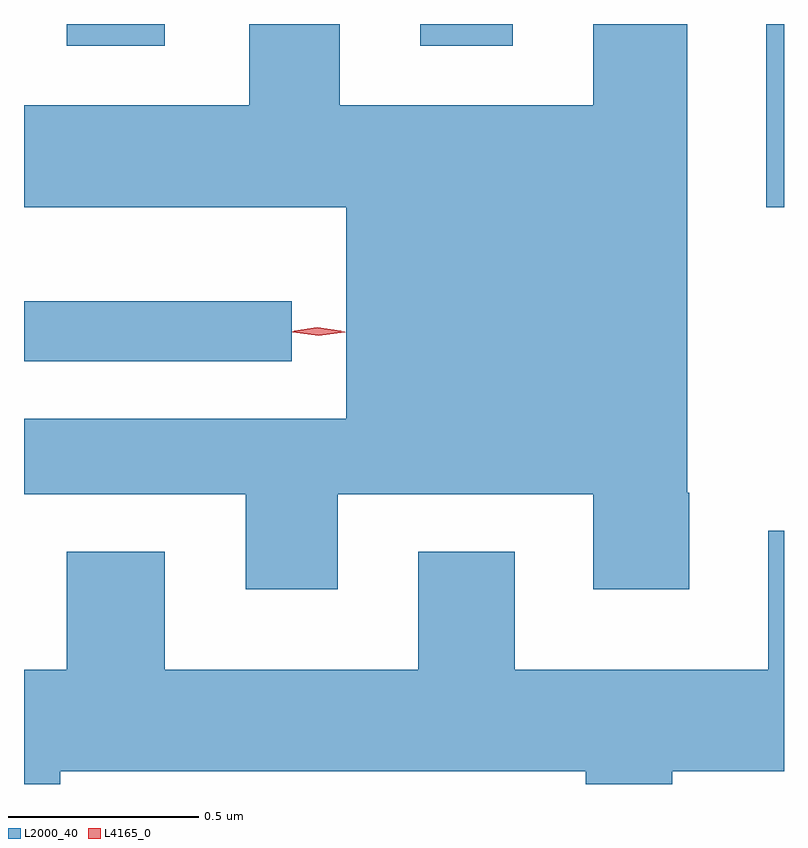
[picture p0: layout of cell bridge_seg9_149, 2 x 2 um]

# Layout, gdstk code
import gdstk
lib = gdstk.Library(unit=1e-6, precision=1e-09)
def R(c, l, rs):  # rectangles x0, y0, x1, y1
    for r in rs: c.add(gdstk.rectangle(r[:2], r[2:], *l))
def P(c, l, *ps):  # polygons
    for p in ps: c.add(gdstk.Polygon(p, *l))
L2000_40 = (2000, 40)
L4165_0 = (4165, 0)

bridge_seg9_149 = lib.new_cell('bridge_seg9_149')
R(bridge_seg9_149, L2000_40, [(1341.443,2046.176,1342.148,2046.334), (1343.396,2046.581,1343.443,2047.063), (1341.556,2047.006,1341.814,2047.063), (1342.486,2047.006,1342.729,2047.063)])
P(bridge_seg9_149, L2000_40, [(1342.269,2045.826),(1342.941,2045.826),(1342.941,2045.576),(1343.194,2045.576),(1343.194,2045.83),(1343.189,2045.83),(1343.189,2047.063),(1342.941,2047.063),(1342.941,2046.849),(1342.274,2046.849),(1342.274,2047.063),(1342.036,2047.063),(1342.036,2046.849),(1341.443,2046.849),(1341.443,2046.581),(1342.291,2046.581),(1342.291,2046.024),(1341.443,2046.024),(1341.443,2045.826),(1342.026,2045.826),(1342.026,2045.576),(1342.269,2045.576)],
  [(1342.921,2045.063),(1343.149,2045.063),(1343.149,2045.096),(1343.443,2045.096),(1343.443,2045.729),(1343.401,2045.729),(1343.401,2045.364),(1342.734,2045.364),(1342.734,2045.674),(1342.481,2045.674),(1342.481,2045.364),(1341.814,2045.364),(1341.814,2045.674),(1341.556,2045.674),(1341.556,2045.364),(1341.443,2045.364),(1341.443,2045.063),(1341.539,2045.063),(1341.539,2045.096),(1342.921,2045.096)])
P(bridge_seg9_149, L4165_0, [(1342.218,2046.243),(1342.15,2046.252),(1342.149,2046.253),(1342.15,2046.253),(1342.218,2046.262),(1342.287,2046.253),(1342.288,2046.252),(1342.287,2046.252)],
  [(1342.215,2046.245),(1342.154,2046.255),(1342.153,2046.255),(1342.154,2046.256),(1342.215,2046.265),(1342.277,2046.256),(1342.278,2046.256),(1342.277,2046.255)])

lib.write_gds('bridge_seg9_149.gds')
